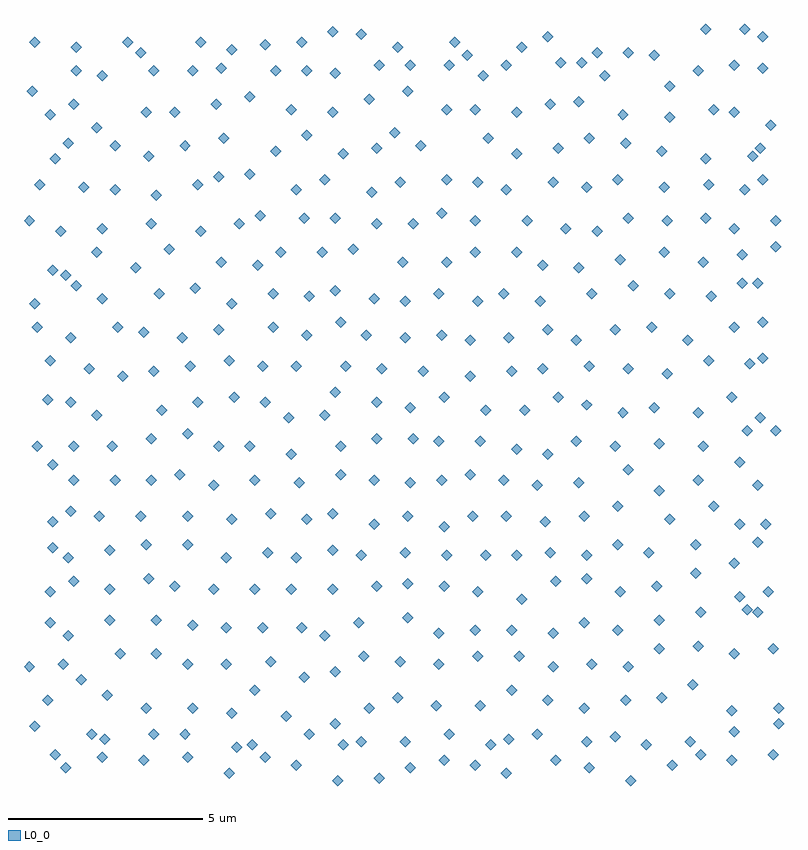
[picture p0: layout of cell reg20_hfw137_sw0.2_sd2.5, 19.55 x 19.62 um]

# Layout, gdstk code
import gdstk
lib = gdstk.Library(unit=1e-6, precision=1e-11)
def P(c, l, *ps):  # polygons
    for p in ps: c.add(gdstk.Polygon(p, *l))
L0_0 = (0, 0)

reg20_hfw137_sw0_2_sd2_5 = lib.new_cell('reg20_hfw137_sw0.2_sd2.5')
P(reg20_hfw137_sw0_2_sd2_5, L0_0, [(0.3374,3.2707),(0.4788,3.1293),(0.3374,2.9879),(0.196,3.1293)],
  [(0.3374,14.7374),(0.4788,14.596),(0.3374,14.4545),(0.196,14.596)],
  [(0.404,18.0707),(0.5455,17.9293),(0.404,17.7879),(0.2626,17.9293)],
  [(0.4707,1.7374),(0.6121,1.596),(0.4707,1.4545),(0.3293,1.596)],
  [(0.4707,12.604),(0.6121,12.4626),(0.4707,12.3212),(0.3293,12.4626)],
  [(0.4707,19.3374),(0.6121,19.196),(0.4707,19.0545),(0.3293,19.196)],
  [(0.5374,8.9374),(0.6788,8.796),(0.5374,8.6545),(0.396,8.796)],
  [(0.5374,12.004),(0.6788,11.8626),(0.5374,11.7212),(0.396,11.8626)],
  [(0.604,15.6707),(0.7455,15.5293),(0.604,15.3879),(0.4626,15.5293)],
  [(0.804,2.404),(0.9455,2.2626),(0.804,2.1212),(0.6626,2.2626)],
  [(0.804,10.1374),(0.9455,9.996),(0.804,9.8545),(0.6626,9.996)],
  [(0.8707,4.404),(1.0121,4.2626),(0.8707,4.1212),(0.7293,4.2626)],
  [(0.8707,5.204),(1.0121,5.0626),(0.8707,4.9212),(0.7293,5.0626)],
  [(0.8707,11.1374),(1.0121,10.996),(0.8707,10.8545),(0.7293,10.996)],
  [(0.8707,17.4707),(1.0121,17.3293),(0.8707,17.1879),(0.7293,17.3293)],
  [(0.9374,6.3374),(1.0788,6.196),(0.9374,6.0545),(0.796,6.196)],
  [(0.9374,7.004),(1.0788,6.8626),(0.9374,6.7212),(0.796,6.8626)],
  [(0.9374,8.4707),(1.0788,8.3293),(0.9374,8.1879),(0.796,8.3293)],
  [(0.9374,13.4707),(1.0788,13.3293),(0.9374,13.1879),(0.796,13.3293)],
  [(1.004,1.004),(1.1455,0.8626),(1.004,0.7212),(0.8626,0.8626)],
  [(1.004,16.3374),(1.1455,16.196),(1.004,16.0545),(0.8626,16.196)],
  [(1.1374,14.4707),(1.2788,14.3293),(1.1374,14.1879),(0.996,14.3293)],
  [(1.204,3.3374),(1.3455,3.196),(1.204,3.0545),(1.0626,3.196)],
  [(1.2707,0.6707),(1.4121,0.5293),(1.2707,0.3879),(1.1293,0.5293)],
  [(1.2707,13.3374),(1.4121,13.196),(1.2707,13.0545),(1.1293,13.196)],
  [(1.3374,4.0707),(1.4788,3.9293),(1.3374,3.7879),(1.196,3.9293)],
  [(1.3374,6.0707),(1.4788,5.9293),(1.3374,5.7879),(1.196,5.9293)],
  [(1.3374,16.7374),(1.4788,16.596),(1.3374,16.4545),(1.196,16.596)],
  [(1.404,7.2707),(1.5455,7.1293),(1.404,6.9879),(1.2626,7.1293)],
  [(1.404,10.0707),(1.5455,9.9293),(1.404,9.7879),(1.2626,9.9293)],
  [(1.404,11.7374),(1.5455,11.596),(1.404,11.4545),(1.2626,11.596)],
  [(1.4707,5.4707),(1.6121,5.3293),(1.4707,5.1879),(1.3293,5.3293)],
  [(1.4707,8.0707),(1.6121,7.9293),(1.4707,7.7879),(1.3293,7.9293)],
  [(1.4707,8.9374),(1.6121,8.796),(1.4707,8.6545),(1.3293,8.796)],
  [(1.4707,17.7374),(1.6121,17.596),(1.4707,17.4545),(1.3293,17.596)],
  [(1.5374,13.0707),(1.6788,12.9293),(1.5374,12.7879),(1.396,12.9293)],
  [(1.5374,18.604),(1.6788,18.4626),(1.5374,18.3212),(1.396,18.4626)],
  [(1.5374,19.204),(1.6788,19.0626),(1.5374,18.9212),(1.396,19.0626)],
  [(1.6707,2.9374),(1.8121,2.796),(1.6707,2.6545),(1.5293,2.796)],
  [(1.7374,15.604),(1.8788,15.4626),(1.7374,15.3212),(1.596,15.4626)],
  [(1.8707,10.9374),(2.0121,10.796),(1.8707,10.6545),(1.7293,10.796)],
  [(1.9374,1.5374),(2.0788,1.396),(1.9374,1.2545),(1.796,1.396)],
  [(2.0707,9.7374),(2.2121,9.596),(2.0707,9.4545),(1.9293,9.596)],
  [(2.0707,13.9374),(2.2121,13.796),(2.0707,13.6545),(1.9293,13.796)],
  [(2.0707,17.1374),(2.2121,16.996),(2.0707,16.8545),(1.9293,16.996)],
  [(2.1374,7.1374),(2.2788,6.996),(2.1374,6.8545),(1.996,6.996)],
  [(2.204,0.9374),(2.3455,0.796),(2.204,0.6545),(2.0626,0.796)],
  [(2.204,12.7374),(2.3455,12.596),(2.204,12.4545),(2.0626,12.596)],
  [(2.204,14.5374),(2.3455,14.396),(2.204,14.2545),(2.0626,14.396)],
  [(2.204,18.4707),(2.3455,18.3293),(2.204,18.1879),(2.0626,18.3293)],
  [(2.2707,1.404),(2.4121,1.2626),(2.2707,1.1212),(2.1293,1.2626)],
  [(2.3374,2.5374),(2.4788,2.396),(2.3374,2.2545),(2.196,2.396)],
  [(2.404,4.4707),(2.5455,4.3293),(2.404,4.1879),(2.2626,4.3293)],
  [(2.404,5.2707),(2.5455,5.1293),(2.404,4.9879),(2.2626,5.1293)],
  [(2.404,6.2707),(2.5455,6.1293),(2.404,5.9879),(2.2626,6.1293)],
  [(2.4707,8.9374),(2.6121,8.796),(2.4707,8.6545),(2.3293,8.796)],
  [(2.5374,8.0707),(2.6788,7.9293),(2.5374,7.7879),(2.396,7.9293)],
  [(2.5374,15.5374),(2.6788,15.396),(2.5374,15.2545),(2.396,15.396)],
  [(2.5374,16.6707),(2.6788,16.5293),(2.5374,16.3879),(2.396,16.5293)],
  [(2.604,12.004),(2.7455,11.8626),(2.604,11.7212),(2.4626,11.8626)],
  [(2.6707,3.604),(2.8121,3.4626),(2.6707,3.3212),(2.5293,3.4626)],
  [(2.7374,10.7374),(2.8788,10.596),(2.7374,10.4545),(2.596,10.596)],
  [(2.8707,19.3374),(3.0121,19.196),(2.8707,19.0545),(2.7293,19.196)],
  [(3.0707,13.5374),(3.2121,13.396),(3.0707,13.2545),(2.9293,13.396)],
  [(3.204,7.1374),(3.3455,6.996),(3.204,6.8545),(3.0626,6.996)],
  [(3.204,19.0707),(3.3455,18.9293),(3.204,18.7879),(3.0626,18.9293)],
  [(3.2707,0.8707),(3.4121,0.7293),(3.2707,0.5879),(3.1293,0.7293)],
  [(3.2707,11.8707),(3.4121,11.7293),(3.2707,11.5879),(3.1293,11.7293)],
  [(3.3374,2.204),(3.4788,2.0626),(3.3374,1.9212),(3.196,2.0626)],
  [(3.3374,6.404),(3.4788,6.2626),(3.3374,6.1212),(3.196,6.2626)],
  [(3.3374,17.5374),(3.4788,17.396),(3.3374,17.2545),(3.196,17.396)],
  [(3.404,5.5374),(3.5455,5.396),(3.404,5.2545),(3.2626,5.396)],
  [(3.404,16.404),(3.5455,16.2626),(3.404,16.1212),(3.2626,16.2626)],
  [(3.4707,8.0707),(3.6121,7.9293),(3.4707,7.7879),(3.3293,7.9293)],
  [(3.4707,9.1374),(3.6121,8.996),(3.4707,8.8545),(3.3293,8.996)],
  [(3.4707,14.6707),(3.6121,14.5293),(3.4707,14.3879),(3.3293,14.5293)],
  [(3.5374,1.5374),(3.6788,1.396),(3.5374,1.2545),(3.396,1.396)],
  [(3.5374,10.8707),(3.6788,10.7293),(3.5374,10.5879),(3.396,10.7293)],
  [(3.5374,18.604),(3.6788,18.4626),(3.5374,18.3212),(3.396,18.4626)],
  [(3.604,3.604),(3.7455,3.4626),(3.604,3.3212),(3.4626,3.4626)],
  [(3.604,4.4707),(3.7455,4.3293),(3.604,4.1879),(3.4626,4.3293)],
  [(3.604,15.404),(3.7455,15.2626),(3.604,15.1212),(3.4626,15.2626)],
  [(3.6707,12.8707),(3.8121,12.7293),(3.6707,12.5879),(3.5293,12.7293)],
  [(3.7374,9.8707),(3.8788,9.7293),(3.7374,9.5879),(3.596,9.7293)],
  [(3.9374,14.004),(4.0788,13.8626),(3.9374,13.7212),(3.796,13.8626)],
  [(4.0707,5.3374),(4.2121,5.196),(4.0707,5.0545),(3.9293,5.196)],
  [(4.0707,17.5374),(4.2121,17.396),(4.0707,17.2545),(3.9293,17.396)],
  [(4.204,8.204),(4.3455,8.0626),(4.204,7.9212),(4.0626,8.0626)],
  [(4.2707,11.7374),(4.4121,11.596),(4.2707,11.4545),(4.1293,11.596)],
  [(4.3374,1.5374),(4.4788,1.396),(4.3374,1.2545),(4.196,1.396)],
  [(4.3374,16.6707),(4.4788,16.5293),(4.3374,16.3879),(4.196,16.5293)],
  [(4.404,0.9374),(4.5455,0.796),(4.404,0.6545),(4.2626,0.796)],
  [(4.404,3.3374),(4.5455,3.196),(4.404,3.0545),(4.2626,3.196)],
  [(4.404,6.404),(4.5455,6.2626),(4.404,6.1212),(4.2626,6.2626)],
  [(4.404,7.1374),(4.5455,6.996),(4.404,6.8545),(4.2626,6.996)],
  [(4.404,9.2707),(4.5455,9.1293),(4.404,8.9879),(4.2626,9.1293)],
  [(4.4707,11.004),(4.6121,10.8626),(4.4707,10.7212),(4.3293,10.8626)],
  [(4.5374,2.204),(4.6788,2.0626),(4.5374,1.9212),(4.396,2.0626)],
  [(4.5374,4.3374),(4.6788,4.196),(4.5374,4.0545),(4.396,4.196)],
  [(4.5374,18.604),(4.6788,18.4626),(4.5374,18.3212),(4.396,18.4626)],
  [(4.604,13.004),(4.7455,12.8626),(4.604,12.7212),(4.4626,12.8626)],
  [(4.6707,10.0707),(4.8121,9.9293),(4.6707,9.7879),(4.5293,9.9293)],
  [(4.6707,15.6707),(4.8121,15.5293),(4.6707,15.3879),(4.5293,15.5293)],
  [(4.7374,14.4707),(4.8788,14.3293),(4.7374,14.1879),(4.596,14.3293)],
  [(4.7374,19.3374),(4.8788,19.196),(4.7374,19.0545),(4.596,19.196)],
  [(5.0707,5.2707),(5.2121,5.1293),(5.0707,4.9879),(4.9293,5.1293)],
  [(5.0707,7.9374),(5.2121,7.796),(5.0707,7.6545),(4.9293,7.796)],
  [(5.1374,17.7374),(5.2788,17.596),(5.1374,17.4545),(4.996,17.596)],
  [(5.204,8.9374),(5.3455,8.796),(5.204,8.6545),(5.0626,8.796)],
  [(5.204,11.9374),(5.3455,11.796),(5.204,11.6545),(5.0626,11.796)],
  [(5.204,15.8707),(5.3455,15.7293),(5.204,15.5879),(5.0626,15.7293)],
  [(5.2707,13.6707),(5.4121,13.5293),(5.2707,13.3879),(5.1293,13.5293)],
  [(5.2707,18.6707),(5.4121,18.5293),(5.2707,18.3879),(5.1293,18.5293)],
  [(5.3374,16.8707),(5.4788,16.7293),(5.3374,16.5879),(5.196,16.7293)],
  [(5.404,3.3374),(5.5455,3.196),(5.404,3.0545),(5.2626,3.196)],
  [(5.404,4.2707),(5.5455,4.1293),(5.404,3.9879),(5.2626,4.1293)],
  [(5.404,6.0707),(5.5455,5.9293),(5.404,5.7879),(5.2626,5.9293)],
  [(5.4707,0.5374),(5.6121,0.396),(5.4707,0.2545),(5.3293,0.396)],
  [(5.4707,11.1374),(5.6121,10.996),(5.4707,10.8545),(5.3293,10.996)],
  [(5.5374,2.0707),(5.6788,1.9293),(5.5374,1.7879),(5.396,1.9293)],
  [(5.5374,7.0707),(5.6788,6.9293),(5.5374,6.7879),(5.396,6.9293)],
  [(5.5374,12.604),(5.6788,12.4626),(5.5374,12.3212),(5.396,12.4626)],
  [(5.5374,19.1374),(5.6788,18.996),(5.5374,18.8545),(5.396,18.996)],
  [(5.604,10.204),(5.7455,10.0626),(5.604,9.9212),(5.4626,10.0626)],
  [(5.6707,1.204),(5.8121,1.0626),(5.6707,0.9212),(5.5293,1.0626)],
  [(5.7374,14.6707),(5.8788,14.5293),(5.7374,14.3879),(5.596,14.5293)],
  [(6.004,8.9374),(6.1455,8.796),(6.004,8.6545),(5.8626,8.796)],
  [(6.004,15.9374),(6.1455,15.796),(6.004,15.6545),(5.8626,15.796)],
  [(6.004,17.9374),(6.1455,17.796),(6.004,17.6545),(5.8626,17.796)],
  [(6.0707,1.2707),(6.2121,1.1293),(6.0707,0.9879),(5.9293,1.1293)],
  [(6.1374,2.6707),(6.2788,2.5293),(6.1374,2.3879),(5.996,2.5293)],
  [(6.1374,5.2707),(6.2788,5.1293),(6.1374,4.9879),(5.996,5.1293)],
  [(6.1374,8.0707),(6.2788,7.9293),(6.1374,7.7879),(5.996,7.9293)],
  [(6.204,13.604),(6.3455,13.4626),(6.204,13.3212),(6.0626,13.4626)],
  [(6.2707,14.8707),(6.4121,14.7293),(6.2707,14.5879),(6.1293,14.7293)],
  [(6.3374,4.2707),(6.4788,4.1293),(6.3374,3.9879),(6.196,4.1293)],
  [(6.3374,11.004),(6.4788,10.8626),(6.3374,10.7212),(6.196,10.8626)],
  [(6.404,0.9374),(6.5455,0.796),(6.404,0.6545),(6.2626,0.796)],
  [(6.404,10.0707),(6.5455,9.9293),(6.404,9.7879),(6.2626,9.9293)],
  [(6.404,19.2707),(6.5455,19.1293),(6.404,18.9879),(6.2626,19.1293)],
  [(6.4707,6.204),(6.6121,6.0626),(6.4707,5.9212),(6.3293,6.0626)],
  [(6.5374,3.404),(6.6788,3.2626),(6.5374,3.1212),(6.396,3.2626)],
  [(6.5374,7.204),(6.6788,7.0626),(6.5374,6.9212),(6.396,7.0626)],
  [(6.604,12.004),(6.7455,11.8626),(6.604,11.7212),(6.4626,11.8626)],
  [(6.604,12.8707),(6.7455,12.7293),(6.604,12.5879),(6.4626,12.7293)],
  [(6.6707,16.5374),(6.8121,16.396),(6.6707,16.2545),(6.5293,16.396)],
  [(6.6707,18.604),(6.8121,18.4626),(6.6707,18.3212),(6.5293,18.4626)],
  [(6.804,13.9374),(6.9455,13.796),(6.804,13.6545),(6.6626,13.796)],
  [(6.9374,2.004),(7.0788,1.8626),(6.9374,1.7212),(6.796,1.8626)],
  [(7.004,9.6707),(7.1455,9.5293),(7.004,9.3879),(6.8626,9.5293)],
  [(7.0707,5.2707),(7.2121,5.1293),(7.0707,4.9879),(6.9293,5.1293)],
  [(7.0707,8.7374),(7.2121,8.596),(7.0707,8.4545),(6.9293,8.596)],
  [(7.0707,17.604),(7.2121,17.4626),(7.0707,17.3212),(6.9293,17.4626)],
  [(7.204,0.7374),(7.3455,0.596),(7.204,0.4545),(7.0626,0.596)],
  [(7.204,6.0707),(7.3455,5.9293),(7.204,5.7879),(7.0626,5.9293)],
  [(7.204,11.004),(7.3455,10.8626),(7.204,10.7212),(7.0626,10.8626)],
  [(7.204,15.5374),(7.3455,15.396),(7.204,15.2545),(7.0626,15.396)],
  [(7.2707,8.004),(7.4121,7.8626),(7.2707,7.7212),(7.1293,7.8626)],
  [(7.3374,4.2707),(7.4788,4.1293),(7.3374,3.9879),(7.196,4.1293)],
  [(7.3374,19.3374),(7.4788,19.196),(7.3374,19.0545),(7.196,19.196)],
  [(7.404,3.004),(7.5455,2.8626),(7.404,2.7212),(7.2626,2.8626)],
  [(7.404,14.804),(7.5455,14.6626),(7.404,14.5212),(7.2626,14.6626)],
  [(7.4707,7.0707),(7.6121,6.9293),(7.4707,6.7879),(7.3293,6.9293)],
  [(7.4707,11.804),(7.6121,11.6626),(7.4707,11.5212),(7.3293,11.6626)],
  [(7.4707,16.9374),(7.6121,16.796),(7.4707,16.6545),(7.3293,16.796)],
  [(7.4707,18.604),(7.6121,18.4626),(7.4707,18.3212),(7.3293,18.4626)],
  [(7.5374,1.5374),(7.6788,1.396),(7.5374,1.2545),(7.396,1.396)],
  [(7.5374,12.804),(7.6788,12.6626),(7.5374,12.5212),(7.396,12.6626)],
  [(7.8707,13.9374),(8.0121,13.796),(7.8707,13.6545),(7.7293,13.796)],
  [(7.9374,4.0707),(8.0788,3.9293),(7.9374,3.7879),(7.796,3.9293)],
  [(7.9374,9.7374),(8.0788,9.596),(7.9374,9.4545),(7.796,9.596)],
  [(7.9374,15.804),(8.0788,15.6626),(7.9374,15.5212),(7.796,15.6626)],
  [(8.1374,5.2707),(8.2788,5.1293),(8.1374,4.9879),(7.996,5.1293)],
  [(8.1374,6.2707),(8.2788,6.1293),(8.1374,5.9879),(7.996,6.1293)],
  [(8.1374,7.204),(8.2788,7.0626),(8.1374,6.9212),(7.996,7.0626)],
  [(8.1374,17.5374),(8.2788,17.396),(8.1374,17.2545),(7.996,17.396)],
  [(8.1374,19.604),(8.2788,19.4626),(8.1374,19.3212),(7.996,19.4626)],
  [(8.204,1.804),(8.3455,1.6626),(8.204,1.5212),(8.0626,1.6626)],
  [(8.204,3.1374),(8.3455,2.996),(8.204,2.8545),(8.0626,2.996)],
  [(8.204,10.3374),(8.3455,10.196),(8.204,10.0545),(8.0626,10.196)],
  [(8.204,12.9374),(8.3455,12.796),(8.204,12.6545),(8.0626,12.796)],
  [(8.204,14.804),(8.3455,14.6626),(8.204,14.5212),(8.0626,14.6626)],
  [(8.204,18.5374),(8.3455,18.396),(8.204,18.2545),(8.0626,18.396)],
  [(8.2707,0.3374),(8.4121,0.196),(8.2707,0.0545),(8.1293,0.196)],
  [(8.3374,8.204),(8.4788,8.0626),(8.3374,7.9212),(8.196,8.0626)],
  [(8.3374,8.9374),(8.4788,8.796),(8.3374,8.6545),(8.196,8.796)],
  [(8.3374,12.1374),(8.4788,11.996),(8.3374,11.8545),(8.196,11.996)],
  [(8.404,1.2707),(8.5455,1.1293),(8.404,0.9879),(8.2626,1.1293)],
  [(8.404,16.4707),(8.5455,16.3293),(8.404,16.1879),(8.2626,16.3293)],
  [(8.4707,11.004),(8.6121,10.8626),(8.4707,10.7212),(8.3293,10.8626)],
  [(8.6707,14.004),(8.8121,13.8626),(8.6707,13.7212),(8.5293,13.8626)],
  [(8.804,4.404),(8.9455,4.2626),(8.804,4.1212),(8.6626,4.2626)],
  [(8.8707,1.3374),(9.0121,1.196),(8.8707,1.0545),(8.7293,1.196)],
  [(8.8707,6.1374),(9.0121,5.996),(8.8707,5.8545),(8.7293,5.996)],
  [(8.8707,19.5374),(9.0121,19.396),(8.8707,19.2545),(8.7293,19.396)],
  [(8.9374,3.5374),(9.0788,3.396),(8.9374,3.2545),(8.796,3.396)],
  [(9.004,11.804),(9.1455,11.6626),(9.004,11.5212),(8.8626,11.6626)],
  [(9.0707,2.204),(9.2121,2.0626),(9.0707,1.9212),(8.9293,2.0626)],
  [(9.0707,17.8707),(9.2121,17.7293),(9.0707,17.5879),(8.9293,17.7293)],
  [(9.1374,15.4707),(9.2788,15.3293),(9.1374,15.1879),(8.996,15.3293)],
  [(9.204,6.9374),(9.3455,6.796),(9.204,6.6545),(9.0626,6.796)],
  [(9.204,8.0707),(9.3455,7.9293),(9.204,7.7879),(9.0626,7.9293)],
  [(9.204,12.7374),(9.3455,12.596),(9.204,12.4545),(9.0626,12.596)],
  [(9.2707,5.3374),(9.4121,5.196),(9.2707,5.0545),(9.1293,5.196)],
  [(9.2707,9.1374),(9.4121,8.996),(9.2707,8.8545),(9.1293,8.996)],
  [(9.2707,10.0707),(9.4121,9.9293),(9.2707,9.7879),(9.1293,9.9293)],
  [(9.2707,14.6707),(9.4121,14.5293),(9.2707,14.3879),(9.1293,14.5293)],
  [(9.2707,16.604),(9.4121,16.4626),(9.2707,16.3212),(9.1293,16.4626)],
  [(9.3374,0.404),(9.4788,0.2626),(9.3374,0.1212),(9.196,0.2626)],
  [(9.3374,18.7374),(9.4788,18.596),(9.3374,18.4545),(9.196,18.596)],
  [(9.404,10.9374),(9.5455,10.796),(9.404,10.6545),(9.2626,10.796)],
  [(9.7374,17.004),(9.8788,16.8626),(9.7374,16.7212),(9.596,16.8626)],
  [(9.804,2.4707),(9.9455,2.3293),(9.804,2.1879),(9.6626,2.3293)],
  [(9.804,19.204),(9.9455,19.0626),(9.804,18.9212),(9.6626,19.0626)],
  [(9.8707,3.404),(10.0121,3.2626),(9.8707,3.1212),(9.7293,3.2626)],
  [(9.8707,15.7374),(10.0121,15.596),(9.8707,15.4545),(9.7293,15.596)],
  [(9.9374,13.6707),(10.0788,13.5293),(9.9374,13.3879),(9.796,13.5293)],
  [(10.004,1.3374),(10.1455,1.196),(10.004,1.0545),(9.8626,1.196)],
  [(10.004,6.204),(10.1455,6.0626),(10.004,5.9212),(9.8626,6.0626)],
  [(10.004,11.7374),(10.1455,11.596),(10.004,11.4545),(9.8626,11.596)],
  [(10.004,12.6707),(10.1455,12.5293),(10.004,12.3879),(9.8626,12.5293)],
  [(10.0707,4.5374),(10.2121,4.396),(10.0707,4.2545),(9.9293,4.396)],
  [(10.0707,5.404),(10.2121,5.2626),(10.0707,5.1212),(9.9293,5.2626)],
  [(10.0707,7.1374),(10.2121,6.996),(10.0707,6.8545),(9.9293,6.996)],
  [(10.0707,18.0707),(10.2121,17.9293),(10.0707,17.7879),(9.9293,17.9293)],
  [(10.1374,0.6707),(10.2788,0.5293),(10.1374,0.3879),(9.996,0.5293)],
  [(10.1374,8.004),(10.2788,7.8626),(10.1374,7.7212),(9.996,7.8626)],
  [(10.1374,9.9374),(10.2788,9.796),(10.1374,9.6545),(9.996,9.796)],
  [(10.1374,18.7374),(10.2788,18.596),(10.1374,18.4545),(9.996,18.596)],
  [(10.204,9.1374),(10.3455,8.996),(10.204,8.8545),(10.0626,8.996)],
  [(10.204,14.6707),(10.3455,14.5293),(10.204,14.3879),(10.0626,14.5293)],
  [(10.404,16.6707),(10.5455,16.5293),(10.404,16.3879),(10.2626,16.5293)],
  [(10.4707,10.8707),(10.6121,10.7293),(10.4707,10.5879),(10.3293,10.7293)],
  [(10.804,2.2707),(10.9455,2.1293),(10.804,1.9879),(10.6626,2.1293)],
  [(10.8707,3.3374),(11.0121,3.196),(10.8707,3.0545),(10.7293,3.196)],
  [(10.8707,4.1374),(11.0121,3.996),(10.8707,3.8545),(10.7293,3.996)],
  [(10.8707,9.0707),(11.0121,8.9293),(10.8707,8.7879),(10.7293,8.9293)],
  [(10.8707,12.8707),(11.0121,12.7293),(10.8707,12.5879),(10.7293,12.7293)],
  [(10.9374,8.0707),(11.0788,7.9293),(10.9374,7.7879),(10.796,7.9293)],
  [(10.9374,11.804),(11.0788,11.6626),(10.9374,11.5212),(10.796,11.6626)],
  [(10.9374,14.9374),(11.0788,14.796),(10.9374,14.6545),(10.796,14.796)],
  [(11.004,0.8707),(11.1455,0.7293),(11.004,0.5879),(10.8626,0.7293)],
  [(11.004,5.3374),(11.1455,5.196),(11.004,5.0545),(10.8626,5.196)],
  [(11.004,6.8707),(11.1455,6.7293),(11.004,6.5879),(10.8626,6.7293)],
  [(11.004,10.204),(11.1455,10.0626),(11.004,9.9212),(10.8626,10.0626)],
  [(11.0707,6.1374),(11.2121,5.996),(11.0707,5.8545),(10.9293,5.996)],
  [(11.0707,13.6707),(11.2121,13.5293),(11.0707,13.3879),(10.9293,13.5293)],
  [(11.0707,15.804),(11.2121,15.6626),(11.0707,15.5212),(10.9293,15.6626)],
  [(11.0707,17.604),(11.2121,17.4626),(11.0707,17.3212),(10.9293,17.4626)],
  [(11.1374,1.5374),(11.2788,1.396),(11.1374,1.2545),(10.996,1.396)],
  [(11.1374,18.7374),(11.2788,18.596),(11.1374,18.4545),(10.996,18.596)],
  [(11.2707,19.3374),(11.4121,19.196),(11.2707,19.0545),(11.1293,19.196)],
  [(11.604,19.004),(11.7455,18.8626),(11.604,18.7212),(11.4626,18.8626)],
  [(11.6707,8.204),(11.8121,8.0626),(11.6707,7.9212),(11.5293,8.0626)],
  [(11.6707,10.7374),(11.8121,10.596),(11.6707,10.4545),(11.5293,10.596)],
  [(11.6707,11.6707),(11.8121,11.5293),(11.6707,11.3879),(11.5293,11.5293)],
  [(11.7374,7.1374),(11.8788,6.996),(11.7374,6.8545),(11.596,6.996)],
  [(11.804,0.7374),(11.9455,0.596),(11.804,0.4545),(11.6626,0.596)],
  [(11.804,4.204),(11.9455,4.0626),(11.804,3.9212),(11.6626,4.0626)],
  [(11.804,13.9374),(11.9455,13.796),(11.804,13.6545),(11.6626,13.796)],
  [(11.804,14.7374),(11.9455,14.596),(11.804,14.4545),(11.6626,14.596)],
  [(11.804,17.604),(11.9455,17.4626),(11.804,17.3212),(11.6626,17.4626)],
  [(11.8707,3.5374),(12.0121,3.396),(11.8707,3.2545),(11.7293,3.396)],
  [(11.8707,5.204),(12.0121,5.0626),(11.8707,4.9212),(11.7293,5.0626)],
  [(11.8707,12.6707),(12.0121,12.5293),(11.8707,12.3879),(11.7293,12.5293)],
  [(11.8707,15.7374),(12.0121,15.596),(11.8707,15.4545),(11.7293,15.596)],
  [(11.9374,2.2707),(12.0788,2.1293),(11.9374,1.9879),(11.796,2.1293)],
  [(11.9374,9.0707),(12.0788,8.9293),(11.9374,8.7879),(11.796,8.9293)],
  [(12.004,18.4707),(12.1455,18.3293),(12.004,18.1879),(11.8626,18.3293)],
  [(12.0707,6.1374),(12.2121,5.996),(12.0707,5.8545),(11.9293,5.996)],
  [(12.0707,9.8707),(12.2121,9.7293),(12.0707,9.5879),(11.9293,9.7293)],
  [(12.1374,16.8707),(12.2788,16.7293),(12.1374,16.5879),(11.996,16.7293)],
  [(12.204,1.2707),(12.3455,1.1293),(12.204,0.9879),(12.0626,1.1293)],
  [(12.5374,8.0707),(12.6788,7.9293),(12.5374,7.7879),(12.396,7.9293)],
  [(12.5374,12.8707),(12.6788,12.7293),(12.5374,12.5879),(12.396,12.7293)],
  [(12.604,0.5374),(12.7455,0.396),(12.604,0.2545),(12.4626,0.396)],
  [(12.604,7.1374),(12.7455,6.996),(12.604,6.8545),(12.4626,6.996)],
  [(12.604,15.5374),(12.7455,15.396),(12.604,15.2545),(12.4626,15.396)],
  [(12.604,18.7374),(12.7455,18.596),(12.604,18.4545),(12.4626,18.596)],
  [(12.6707,1.404),(12.8121,1.2626),(12.6707,1.1212),(12.5293,1.2626)],
  [(12.6707,11.7374),(12.8121,11.596),(12.6707,11.4545),(12.5293,11.596)],
  [(12.7374,2.6707),(12.8788,2.5293),(12.7374,2.3879),(12.596,2.5293)],
  [(12.7374,4.204),(12.8788,4.0626),(12.7374,3.9212),(12.596,4.0626)],
  [(12.7374,10.8707),(12.8788,10.7293),(12.7374,10.5879),(12.596,10.7293)],
  [(12.8707,6.1374),(13.0121,5.996),(12.8707,5.8545),(12.7293,5.996)],
  [(12.8707,8.8707),(13.0121,8.7293),(12.8707,8.5879),(12.7293,8.7293)],
  [(12.8707,13.9374),(13.0121,13.796),(12.8707,13.6545),(12.7293,13.796)],
  [(12.8707,16.4707),(13.0121,16.3293),(12.8707,16.1879),(12.7293,16.3293)],
  [(12.8707,17.5374),(13.0121,17.396),(12.8707,17.2545),(12.7293,17.396)],
  [(12.9374,3.5374),(13.0788,3.396),(12.9374,3.2545),(12.796,3.396)],
  [(13.004,5.004),(13.1455,4.8626),(13.004,4.7212),(12.8626,4.8626)],
  [(13.004,19.204),(13.1455,19.0626),(13.004,18.9212),(12.8626,19.0626)],
  [(13.0707,9.8707),(13.2121,9.7293),(13.0707,9.5879),(12.9293,9.7293)],
  [(13.1374,14.7374),(13.2788,14.596),(13.1374,14.4545),(12.996,14.596)],
  [(13.404,1.5374),(13.5455,1.396),(13.404,1.2545),(13.2626,1.396)],
  [(13.404,7.9374),(13.5455,7.796),(13.404,7.6545),(13.2626,7.796)],
  [(13.4707,12.6707),(13.6121,12.5293),(13.4707,12.3879),(13.3293,12.5293)],
  [(13.5374,10.9374),(13.6788,10.796),(13.5374,10.6545),(13.396,10.796)],
  [(13.5374,13.604),(13.6788,13.4626),(13.5374,13.3212),(13.396,13.4626)],
  [(13.604,7.004),(13.7455,6.8626),(13.604,6.7212),(13.4626,6.8626)],
  [(13.6707,2.404),(13.8121,2.2626),(13.6707,2.1212),(13.5293,2.2626)],
  [(13.6707,8.7374),(13.8121,8.596),(13.6707,8.4545),(13.5293,8.596)],
  [(13.6707,11.9374),(13.8121,11.796),(13.6707,11.6545),(13.5293,11.796)],
  [(13.6707,19.4707),(13.8121,19.3293),(13.6707,19.1879),(13.5293,19.3293)],
  [(13.7374,6.204),(13.8788,6.0626),(13.7374,5.9212),(13.596,6.0626)],
  [(13.7374,17.7374),(13.8788,17.596),(13.7374,17.4545),(13.596,17.596)],
  [(13.804,3.2707),(13.9455,3.1293),(13.804,2.9879),(13.6626,3.1293)],
  [(13.804,4.1374),(13.9455,3.996),(13.804,3.8545),(13.6626,3.996)],
  [(13.804,15.7374),(13.9455,15.596),(13.804,15.4545),(13.6626,15.596)],
  [(13.8707,0.8707),(14.0121,0.7293),(13.8707,0.5879),(13.7293,0.7293)],
  [(13.8707,5.4707),(14.0121,5.3293),(13.8707,5.1879),(13.7293,5.3293)],
  [(13.9374,10.204),(14.0788,10.0626),(13.9374,9.9212),(13.796,10.0626)],
  [(13.9374,16.604),(14.0788,16.4626),(13.9374,16.3212),(13.796,16.4626)],
  [(14.004,18.804),(14.1455,18.6626),(14.004,18.5212),(13.8626,18.6626)],
  [(14.1374,14.5374),(14.2788,14.396),(14.1374,14.2545),(13.996,14.396)],
  [(14.404,9.0707),(14.5455,8.9293),(14.404,8.7879),(14.2626,8.9293)],
  [(14.404,11.6707),(14.5455,11.5293),(14.404,11.3879),(14.2626,11.5293)],
  [(14.4707,8.004),(14.6121,7.8626),(14.4707,7.7212),(14.3293,7.8626)],
  [(14.4707,13.5374),(14.6121,13.396),(14.4707,13.2545),(14.3293,13.396)],
  [(14.4707,17.804),(14.6121,17.6626),(14.4707,17.5212),(14.3293,17.6626)],
  [(14.5374,18.804),(14.6788,18.6626),(14.5374,18.5212),(14.396,18.6626)],
  [(14.604,2.204),(14.7455,2.0626),(14.604,1.9212),(14.4626,2.0626)],
  [(14.604,4.404),(14.7455,4.2626),(14.604,4.1212),(14.4626,4.2626)],
  [(14.604,7.1374),(14.7455,6.996),(14.604,6.8545),(14.4626,6.996)],
  [(14.6707,1.3374),(14.8121,1.196),(14.6707,1.0545),(14.5293,1.196)],
  [(14.6707,5.5374),(14.8121,5.396),(14.6707,5.2545),(14.5293,5.396)],
  [(14.6707,6.1374),(14.8121,5.996),(14.6707,5.8545),(14.5293,5.996)],
  [(14.6707,10.004),(14.8121,9.8626),(14.6707,9.7212),(14.5293,9.8626)],
  [(14.6707,15.604),(14.8121,15.4626),(14.6707,15.3212),(14.5293,15.4626)],
  [(14.7374,0.6707),(14.8788,0.5293),(14.7374,0.3879),(14.596,0.5293)],
  [(14.7374,11.004),(14.8788,10.8626),(14.7374,10.7212),(14.596,10.8626)],
  [(14.7374,16.8707),(14.8788,16.7293),(14.7374,16.5879),(14.596,16.7293)],
  [(14.804,3.3374),(14.9455,3.196),(14.804,3.0545),(14.6626,3.196)],
  [(14.804,12.8707),(14.9455,12.7293),(14.804,12.5879),(14.6626,12.7293)],
  [(14.9374,14.4707),(15.0788,14.3293),(14.9374,14.1879),(14.796,14.3293)],
  [(14.9374,19.0707),(15.0788,18.9293),(14.9374,18.7879),(14.796,18.9293)],
  [(15.1374,18.4707),(15.2788,18.3293),(15.1374,18.1879),(14.996,18.3293)],
  [(15.404,1.4707),(15.5455,1.3293),(15.404,1.1879),(15.2626,1.3293)],
  [(15.404,8.9374),(15.5455,8.796),(15.404,8.6545),(15.2626,8.796)],
  [(15.404,11.9374),(15.5455,11.796),(15.404,11.6545),(15.2626,11.796)],
  [(15.4707,4.204),(15.6121,4.0626),(15.4707,3.9212),(15.3293,4.0626)],
  [(15.4707,6.404),(15.6121,6.2626),(15.4707,6.1212),(15.3293,6.2626)],
  [(15.4707,7.404),(15.6121,7.2626),(15.4707,7.1212),(15.3293,7.2626)],
  [(15.4707,15.804),(15.6121,15.6626),(15.4707,15.5212),(15.3293,15.6626)],
  [(15.5374,5.204),(15.6788,5.0626),(15.5374,4.9212),(15.396,5.0626)],
  [(15.5374,13.7374),(15.6788,13.596),(15.5374,13.4545),(15.396,13.596)],
  [(15.604,9.804),(15.7455,9.6626),(15.604,9.5212),(15.4626,9.6626)],
  [(15.604,17.4707),(15.7455,17.3293),(15.604,17.1879),(15.4626,17.3293)],
  [(15.6707,2.404),(15.8121,2.2626),(15.6707,2.1212),(15.5293,2.2626)],
  [(15.6707,16.7374),(15.8121,16.596),(15.6707,16.4545),(15.5293,16.596)],
  [(15.7374,3.2707),(15.8788,3.1293),(15.7374,2.9879),(15.596,3.1293)],
  [(15.7374,8.3374),(15.8788,8.196),(15.7374,8.0545),(15.596,8.196)],
  [(15.7374,10.9374),(15.8788,10.796),(15.7374,10.6545),(15.596,10.796)],
  [(15.7374,14.804),(15.8788,14.6626),(15.7374,14.5212),(15.596,14.6626)],
  [(15.7374,19.0707),(15.8788,18.9293),(15.7374,18.7879),(15.596,18.9293)],
  [(15.804,0.3374),(15.9455,0.196),(15.804,0.0545),(15.6626,0.196)],
  [(15.8707,13.0707),(16.0121,12.9293),(15.8707,12.7879),(15.7293,12.9293)],
  [(16.204,1.2707),(16.3455,1.1293),(16.204,0.9879),(16.0626,1.1293)],
  [(16.2707,6.204),(16.4121,6.0626),(16.2707,5.9212),(16.1293,6.0626)],
  [(16.3374,12.004),(16.4788,11.8626),(16.3374,11.7212),(16.196,11.8626)],
  [(16.404,9.9374),(16.5455,9.796),(16.404,9.6545),(16.2626,9.796)],
  [(16.404,19.004),(16.5455,18.8626),(16.404,18.7212),(16.2626,18.8626)],
  [(16.4707,5.3374),(16.6121,5.196),(16.4707,5.0545),(16.3293,5.196)],
  [(16.5374,3.7374),(16.6788,3.596),(16.5374,3.4545),(16.396,3.596)],
  [(16.5374,4.4707),(16.6788,4.3293),(16.5374,4.1879),(16.396,4.3293)],
  [(16.5374,7.804),(16.6788,7.6626),(16.5374,7.5212),(16.396,7.6626)],
  [(16.5374,9.004),(16.6788,8.8626),(16.5374,8.7212),(16.396,8.8626)],
  [(16.604,2.4707),(16.7455,2.3293),(16.604,2.1879),(16.4626,2.3293)],
  [(16.604,16.5374),(16.7455,16.396),(16.604,16.2545),(16.4626,16.396)],
  [(16.6707,13.9374),(16.8121,13.796),(16.6707,13.6545),(16.5293,13.796)],
  [(16.6707,15.604),(16.8121,15.4626),(16.6707,15.3212),(16.5293,15.4626)],
  [(16.7374,10.804),(16.8788,10.6626),(16.7374,10.5212),(16.596,10.6626)],
  [(16.7374,14.7374),(16.8788,14.596),(16.7374,14.4545),(16.596,14.596)],
  [(16.804,7.0707),(16.9455,6.9293),(16.804,6.7879),(16.6626,6.9293)],
  [(16.804,12.8707),(16.9455,12.7293),(16.804,12.5879),(16.6626,12.7293)],
  [(16.804,17.404),(16.9455,17.2626),(16.804,17.1212),(16.6626,17.2626)],
  [(16.804,18.204),(16.9455,18.0626),(16.804,17.9212),(16.6626,18.0626)],
  [(16.8707,0.7374),(17.0121,0.596),(16.8707,0.4545),(16.7293,0.596)],
  [(17.2707,11.6707),(17.4121,11.5293),(17.2707,11.3879),(17.1293,11.5293)],
  [(17.3374,1.3374),(17.4788,1.196),(17.3374,1.0545),(17.196,1.196)],
  [(17.404,2.804),(17.5455,2.6626),(17.404,2.5212),(17.2626,2.6626)],
  [(17.4707,5.6707),(17.6121,5.5293),(17.4707,5.3879),(17.3293,5.5293)],
  [(17.4707,6.404),(17.6121,6.2626),(17.4707,6.1212),(17.3293,6.2626)],
  [(17.5374,3.804),(17.6788,3.6626),(17.5374,3.5212),(17.396,3.6626)],
  [(17.5374,8.0707),(17.6788,7.9293),(17.5374,7.7879),(17.396,7.9293)],
  [(17.5374,9.804),(17.6788,9.6626),(17.5374,9.5212),(17.396,9.6626)],
  [(17.5374,18.604),(17.6788,18.4626),(17.5374,18.3212),(17.396,18.4626)],
  [(17.604,1.004),(17.7455,0.8626),(17.604,0.7212),(17.4626,0.8626)],
  [(17.604,4.6707),(17.7455,4.5293),(17.604,4.3879),(17.4626,4.5293)],
  [(17.6707,8.9374),(17.8121,8.796),(17.6707,8.6545),(17.5293,8.796)],
  [(17.6707,13.6707),(17.8121,13.5293),(17.6707,13.3879),(17.5293,13.5293)],
  [(17.7374,14.804),(17.8788,14.6626),(17.7374,14.5212),(17.596,14.6626)],
  [(17.7374,16.3374),(17.8788,16.196),(17.7374,16.0545),(17.596,16.196)],
  [(17.7374,19.6707),(17.8788,19.5293),(17.7374,19.3879),(17.596,19.5293)],
  [(17.804,11.1374),(17.9455,10.996),(17.804,10.8545),(17.6626,10.996)],
  [(17.804,15.6707),(17.9455,15.5293),(17.804,15.3879),(17.6626,15.5293)],
  [(17.8707,12.804),(18.0121,12.6626),(17.8707,12.5212),(17.7293,12.6626)],
  [(17.9374,7.404),(18.0788,7.2626),(17.9374,7.1212),(17.796,7.2626)],
  [(17.9374,17.604),(18.0788,17.4626),(17.9374,17.3212),(17.796,17.4626)],
  [(18.404,0.8707),(18.5455,0.7293),(18.404,0.5879),(18.2626,0.7293)],
  [(18.404,2.1374),(18.5455,1.996),(18.404,1.8545),(18.2626,1.996)],
  [(18.404,10.204),(18.5455,10.0626),(18.404,9.9212),(18.2626,10.0626)],
  [(18.4707,1.604),(18.6121,1.4626),(18.4707,1.3212),(18.3293,1.4626)],
  [(18.4707,3.604),(18.6121,3.4626),(18.4707,3.3212),(18.3293,3.4626)],
  [(18.4707,5.9374),(18.6121,5.796),(18.4707,5.6545),(18.3293,5.796)],
  [(18.4707,12.004),(18.6121,11.8626),(18.4707,11.7212),(18.3293,11.8626)],
  [(18.4707,14.5374),(18.6121,14.396),(18.4707,14.2545),(18.3293,14.396)],
  [(18.4707,17.5374),(18.6121,17.396),(18.4707,17.2545),(18.3293,17.396)],
  [(18.4707,18.7374),(18.6121,18.596),(18.4707,18.4545),(18.3293,18.596)],
  [(18.604,5.0707),(18.7455,4.9293),(18.604,4.7879),(18.4626,4.9293)],
  [(18.604,6.9374),(18.7455,6.796),(18.604,6.6545),(18.4626,6.796)],
  [(18.604,8.5374),(18.7455,8.396),(18.604,8.2545),(18.4626,8.396)],
  [(18.6707,13.1374),(18.8121,12.996),(18.6707,12.8545),(18.5293,12.996)],
  [(18.6707,13.8707),(18.8121,13.7293),(18.6707,13.5879),(18.5293,13.7293)],
  [(18.7374,15.5374),(18.8788,15.396),(18.7374,15.2545),(18.596,15.396)],
  [(18.7374,19.6707),(18.8788,19.5293),(18.7374,19.3879),(18.596,19.5293)],
  [(18.804,4.7374),(18.9455,4.596),(18.804,4.4545),(18.6626,4.596)],
  [(18.804,9.3374),(18.9455,9.196),(18.804,9.0545),(18.6626,9.196)],
  [(18.8707,11.0707),(19.0121,10.9293),(18.8707,10.7879),(18.7293,10.9293)],
  [(18.9374,16.404),(19.0788,16.2626),(18.9374,16.1212),(18.796,16.2626)],
  [(19.0707,4.6707),(19.2121,4.5293),(19.0707,4.3879),(18.9293,4.5293)],
  [(19.0707,6.4707),(19.2121,6.3293),(19.0707,6.1879),(18.9293,6.3293)],
  [(19.0707,7.9374),(19.2121,7.796),(19.0707,7.6545),(18.9293,7.796)],
  [(19.0707,13.1374),(19.2121,12.996),(19.0707,12.8545),(18.9293,12.996)],
  [(19.1374,9.6707),(19.2788,9.5293),(19.1374,9.3879),(18.996,9.5293)],
  [(19.1374,16.604),(19.2788,16.4626),(19.1374,16.3212),(18.996,16.4626)],
  [(19.204,11.204),(19.3455,11.0626),(19.204,10.9212),(19.0626,11.0626)],
  [(19.204,12.1374),(19.3455,11.996),(19.204,11.8545),(19.0626,11.996)],
  [(19.204,15.804),(19.3455,15.6626),(19.204,15.5212),(19.0626,15.6626)],
  [(19.204,18.6707),(19.3455,18.5293),(19.204,18.3879),(19.0626,18.5293)],
  [(19.204,19.4707),(19.3455,19.3293),(19.204,19.1879),(19.0626,19.3293)],
  [(19.2707,6.9374),(19.4121,6.796),(19.2707,6.6545),(19.1293,6.796)],
  [(19.3374,5.204),(19.4788,5.0626),(19.3374,4.9212),(19.196,5.0626)],
  [(19.404,17.204),(19.5455,17.0626),(19.404,16.9212),(19.2626,17.0626)],
  [(19.4707,1.004),(19.6121,0.8626),(19.4707,0.7212),(19.3293,0.8626)],
  [(19.4707,3.7374),(19.6121,3.596),(19.4707,3.4545),(19.3293,3.596)],
  [(19.5374,9.3374),(19.6788,9.196),(19.5374,9.0545),(19.396,9.196)],
  [(19.5374,14.0707),(19.6788,13.9293),(19.5374,13.7879),(19.396,13.9293)],
  [(19.5374,14.7374),(19.6788,14.596),(19.5374,14.4545),(19.396,14.596)],
  [(19.604,1.804),(19.7455,1.6626),(19.604,1.5212),(19.4626,1.6626)],
  [(19.604,2.204),(19.7455,2.0626),(19.604,1.9212),(19.4626,2.0626)])

lib.write_gds('reg20_hfw137_sw0.2_sd2.5.gds')
